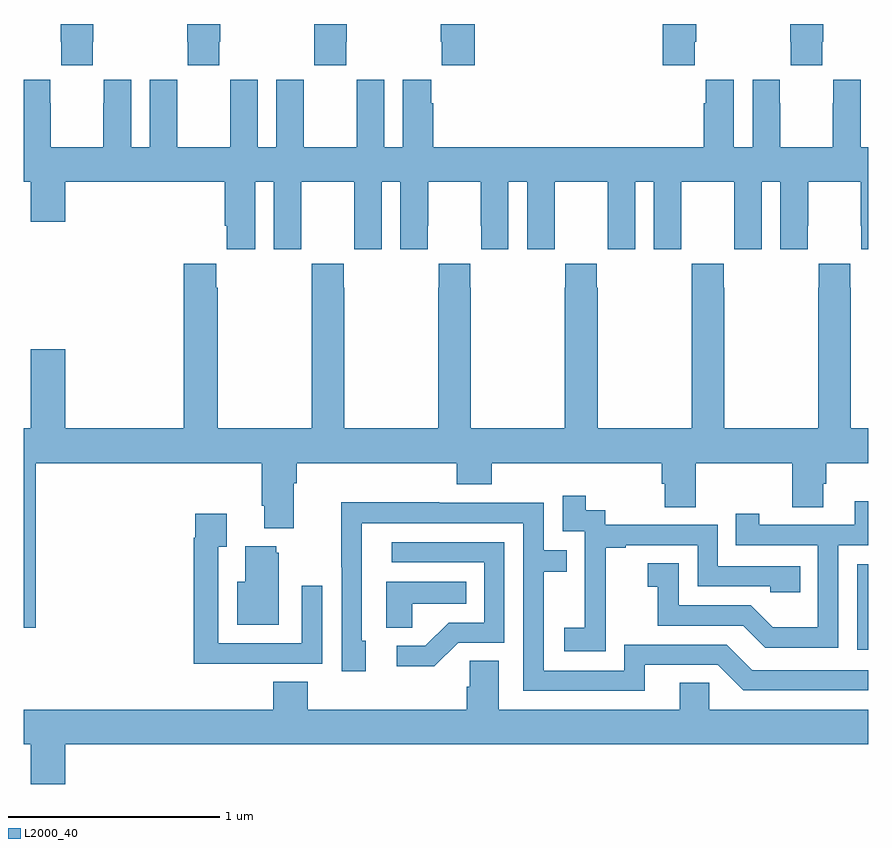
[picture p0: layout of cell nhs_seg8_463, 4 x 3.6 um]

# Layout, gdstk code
import gdstk
lib = gdstk.Library(unit=1e-6, precision=1e-09)
def R(c, l, rs):  # rectangles x0, y0, x1, y1
    for r in rs: c.add(gdstk.rectangle(r[:2], r[2:], *l))
def P(c, l, *ps):  # polygons
    for p in ps: c.add(gdstk.Polygon(p, *l))
L2000_40 = (2000, 40)

nhs_seg8_463 = lib.new_cell('nhs_seg8_463')
R(nhs_seg8_463, L2000_40, [(144.948,1128.936,145,1129.341)])
P(nhs_seg8_463, L2000_40, [(141.927,1131.817),(141.93,1131.817),(141.93,1131.9),(141.775,1131.9),(141.775,1131.817),(141.777,1131.817),(141.777,1131.705),(141.927,1131.705)],
  [(144.783,1131.817),(144.786,1131.817),(144.786,1131.9),(144.631,1131.9),(144.631,1131.817),(144.633,1131.817),(144.633,1131.705),(144.783,1131.705)],
  [(144.026,1131.705),(144.179,1131.705),(144.179,1131.817),(144.186,1131.817),(144.186,1131.9),(144.026,1131.9)],
  [(141.327,1131.817),(141.33,1131.817),(141.33,1131.9),(141.175,1131.9),(141.175,1131.817),(141.177,1131.817),(141.177,1131.705),(141.327,1131.705)],
  [(142.527,1131.817),(142.53,1131.817),(142.53,1131.9),(142.375,1131.9),(142.375,1131.817),(142.377,1131.817),(142.377,1131.705),(142.527,1131.705)],
  [(143.135,1131.9),(142.975,1131.9),(142.975,1131.817),(142.981,1131.817),(142.981,1131.705),(143.135,1131.705)],
  [(142.096,1131.152),(142.184,1131.152),(142.184,1130.832),(142.314,1130.832),(142.314,1130.944),(142.315,1130.944),(142.315,1131.152),(142.565,1131.152),(142.565,1130.944),(142.566,1130.944),(142.566,1130.832),(142.696,1130.832),(142.696,1131.152),(142.784,1131.152),(142.784,1130.832),(142.914,1130.832),(142.914,1130.944),(142.915,1130.944),(142.915,1131.152),(143.165,1131.152),(143.165,1130.944),(143.166,1130.944),(143.166,1130.832),(143.296,1130.832),(143.296,1131.152),(143.384,1131.152),(143.384,1130.832),(143.514,1130.832),(143.514,1130.944),(143.515,1130.944),(143.515,1131.152),(143.765,1131.152),(143.765,1130.944),(143.766,1130.944),(143.766,1130.832),(143.896,1130.832),(143.896,1131.152),(143.984,1131.152),(143.984,1130.832),(144.114,1130.832),(144.114,1130.944),(144.115,1130.944),(144.115,1131.152),(144.365,1131.152),(144.365,1130.944),(144.366,1130.944),(144.366,1130.832),(144.496,1130.832),(144.496,1131.152),(144.584,1131.152),(144.584,1130.832),(144.714,1130.832),(144.714,1130.944),(144.715,1130.944),(144.715,1131.152),(144.965,1131.152),(144.965,1130.944),(144.966,1130.944),(144.966,1130.832),(145,1130.832),(145,1131.316),(144.964,1131.316),(144.964,1131.637),(144.834,1131.637),(144.834,1131.524),(144.833,1131.524),(144.833,1131.316),(144.583,1131.316),(144.583,1131.524),(144.582,1131.524),(144.582,1131.637),(144.452,1131.637),(144.452,1131.316),(144.364,1131.316),(144.364,1131.637),(144.23,1131.637),(144.23,1131.524),(144.221,1131.524),(144.221,1131.316),(142.94,1131.316),(142.94,1131.524),(142.93,1131.524),(142.93,1131.637),(142.796,1131.637),(142.796,1131.316),(142.708,1131.316),(142.708,1131.637),(142.578,1131.637),(142.578,1131.524),(142.577,1131.524),(142.577,1131.316),(142.327,1131.316),(142.327,1131.524),(142.326,1131.524),(142.326,1131.637),(142.196,1131.637),(142.196,1131.316),(142.108,1131.316),(142.108,1131.637),(141.978,1131.637),(141.978,1131.524),(141.977,1131.524),(141.977,1131.316),(141.727,1131.316),(141.727,1131.524),(141.726,1131.524),(141.726,1131.637),(141.596,1131.637),(141.596,1131.316),(141.508,1131.316),(141.508,1131.637),(141.378,1131.637),(141.378,1131.524),(141.377,1131.524),(141.377,1131.316),(141.127,1131.316),(141.127,1131.524),(141.126,1131.524),(141.126,1131.637),(141,1131.637),(141,1131.152),(141.032,1131.152),(141.032,1130.964),(141.196,1130.964),(141.196,1131.152),(141.953,1131.152),(141.953,1130.944),(141.962,1130.944),(141.962,1130.832),(142.096,1130.832)],
  [(143.118,1130.651),(143.115,1130.651),(143.115,1130.764),(142.965,1130.764),(142.965,1130.651),(142.963,1130.651),(142.963,1129.984),(142.518,1129.984),(142.518,1130.651),(142.515,1130.651),(142.515,1130.764),(142.365,1130.764),(142.365,1130.651),(142.363,1130.651),(142.363,1129.984),(141.918,1129.984),(141.918,1130.651),(141.911,1130.651),(141.911,1130.764),(141.758,1130.764),(141.758,1129.984),(141.196,1129.984),(141.196,1130.359),(141.032,1130.359),(141.032,1129.984),(141,1129.984),(141,1129.041),(141.056,1129.041),(141.056,1129.82),(142.127,1129.82),(142.127,1129.618),(142.139,1129.618),(142.139,1129.511),(142.279,1129.511),(142.279,1129.724),(142.292,1129.724),(142.292,1129.82),(143.051,1129.82),(143.051,1129.721),(143.216,1129.721),(143.216,1129.82),(144.023,1129.82),(144.023,1129.722),(144.035,1129.722),(144.035,1129.612),(144.183,1129.612),(144.183,1129.82),(144.64,1129.82),(144.64,1129.612),(144.787,1129.612),(144.787,1129.722),(144.8,1129.722),(144.8,1129.82),(145,1129.82),(145,1129.984),(144.918,1129.984),(144.918,1130.651),(144.915,1130.651),(144.915,1130.764),(144.765,1130.764),(144.765,1130.651),(144.763,1130.651),(144.763,1129.984),(144.318,1129.984),(144.318,1130.651),(144.315,1130.651),(144.315,1130.764),(144.165,1130.764),(144.165,1130.651),(144.163,1130.651),(144.163,1129.984),(143.718,1129.984),(143.718,1130.651),(143.715,1130.651),(143.715,1130.764),(143.565,1130.764),(143.565,1130.651),(143.563,1130.651),(143.563,1129.984),(143.118,1129.984)],
  [(143.757,1129.135),(143.756,1129.135),(143.756,1129.419),(143.851,1129.419),(143.851,1129.431),(144.192,1129.431),(144.192,1129.236),(144.537,1129.236),(144.537,1129.209),(144.677,1129.209),(144.677,1129.332),(144.288,1129.332),(144.288,1129.527),(143.754,1129.527),(143.754,1129.596),(143.662,1129.596),(143.662,1129.666),(143.553,1129.666),(143.553,1129.497),(143.658,1129.497),(143.658,1129.268),(143.657,1129.268),(143.657,1129.039),(143.559,1129.039),(143.559,1128.929),(143.757,1128.929)],
  [(144.858,1129.431),(145,1129.431),(145,1129.639),(144.935,1129.639),(144.935,1129.527),(144.484,1129.527),(144.484,1129.579),(144.373,1129.579),(144.373,1129.431),(144.762,1129.431),(144.762,1129.042),(144.548,1129.042),(144.444,1129.146),(144.102,1129.146),(144.102,1129.345),(143.955,1129.345),(143.955,1129.235),(144.004,1129.235),(144.004,1129.05),(144.407,1129.05),(144.512,1128.945),(144.858,1128.945)],
  [(143.941,1128.864),(144.288,1128.864),(144.408,1128.744),(145,1128.744),(145,1128.84),(144.45,1128.84),(144.33,1128.96),(143.844,1128.96),(143.844,1128.837),(143.463,1128.837),(143.463,1129.306),(143.573,1129.306),(143.573,1129.407),(143.463,1129.407),(143.463,1129.632),(142.967,1129.632),(142.967,1129.634),(142.504,1129.634),(142.504,1129.327),(142.506,1129.327),(142.506,1128.834),(142.621,1128.834),(142.621,1128.978),(142.602,1128.978),(142.602,1129.536),(143.367,1129.536),(143.367,1128.741),(143.941,1128.741)],
  [(142.097,1128.87),(142.413,1128.87),(142.413,1129.24),(142.317,1129.24),(142.317,1128.966),(141.921,1128.966),(141.921,1129.423),(141.961,1129.423),(141.961,1129.579),(141.813,1129.579),(141.813,1129.466),(141.805,1129.466),(141.805,1128.869),(142.097,1128.869)],
  [(143.058,1128.969),(143.277,1128.969),(143.277,1129.446),(142.743,1129.446),(142.743,1129.35),(143.181,1129.35),(143.181,1129.065),(143.012,1129.065),(142.901,1128.954),(142.767,1128.954),(142.767,1128.857),(142.945,1128.857)],
  [(142.207,1129.395),(142.196,1129.395),(142.196,1129.426),(142.049,1129.426),(142.049,1129.258),(142.01,1129.258),(142.01,1129.055),(142.207,1129.055)],
  [(142.839,1129.154),(143.096,1129.154),(143.096,1129.258),(142.718,1129.258),(142.718,1129.039),(142.839,1129.039)],
  [(141.196,1128.488),(145,1128.488),(145,1128.652),(144.246,1128.652),(144.246,1128.779),(144.107,1128.779),(144.107,1128.652),(143.251,1128.652),(143.251,1128.884),(143.112,1128.884),(143.112,1128.761),(143.099,1128.761),(143.099,1128.652),(142.346,1128.652),(142.346,1128.785),(142.181,1128.785),(142.181,1128.652),(141,1128.652),(141,1128.488),(141.032,1128.488),(141.032,1128.3),(141.196,1128.3)])

lib.write_gds('nhs_seg8_463.gds')
